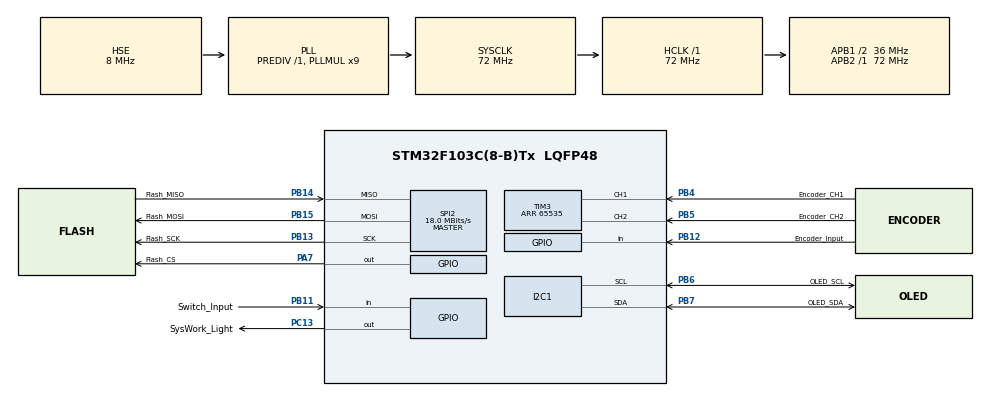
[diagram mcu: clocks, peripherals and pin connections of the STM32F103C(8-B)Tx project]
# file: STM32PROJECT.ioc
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Dma.I2C1_TX.0.Direction=DMA_MEMORY_TO_PERIPH
Dma.I2C1_TX.0.Instance=DMA1_Channel6
Dma.I2C1_TX.0.MemDataAlignment=DMA_MDATAALIGN_BYTE
Dma.I2C1_TX.0.MemInc=DMA_MINC_ENABLE
Dma.I2C1_TX.0.Mode=DMA_NORMAL
Dma.I2C1_TX.0.PeriphDataAlignment=DMA_PDATAALIGN_BYTE
Dma.I2C1_TX.0.PeriphInc=DMA_PINC_DISABLE
Dma.I2C1_TX.0.Priority=DMA_PRIORITY_HIGH
Dma.Request0=I2C1_TX
I2C1.DutyCycle=I2C_DUTYCYCLE_2
I2C1.I2C_Mode=I2C_Fast
Mcu.Family=STM32F1
Mcu.Name=STM32F103C(8-B)Tx
Mcu.Package=LQFP48
NVIC.DMA1_Channel6_IRQn=true\:0\:0\:false\:false\:true\:false\:true\:true
NVIC.PriorityGroup=NVIC_PRIORITYGROUP_4
PA13.Mode=Serial_Wire
PA13.Signal=SYS_JTMS-SWDIO
PA14.Mode=Serial_Wire
PA14.Signal=SYS_JTCK-SWCLK
PA7.GPIO_Label=Flash_CS
PA7.GPIO_ModeDefaultOutputPP=GPIO_MODE_OUTPUT_PP
PA7.GPIO_PuPd=GPIO_PULLUP
PA7.Signal=GPIO_Output
PB11.GPIO_Label=Switch_Input
PB11.GPIO_PuPd=GPIO_PULLUP
PB11.Signal=GPIO_Input
PB12.GPIO_Label=Encoder_Input
PB12.GPIO_PuPd=GPIO_PULLUP
PB12.Signal=GPIO_Input
PB13.GPIO_Label=Flash_SCK
PB13.Mode=Full_Duplex_Master
PB13.Signal=SPI2_SCK
PB14.GPIO_Label=Flash_MISO
PB14.Mode=Full_Duplex_Master
PB14.Signal=SPI2_MISO
PB15.GPIO_Label=Flash_MOSI
PB15.Mode=Full_Duplex_Master
PB15.Signal=SPI2_MOSI
PB4.GPIO_Label=Encoder_CH1
PB4.Signal=S_TIM3_CH1
PB5.GPIO_Label=Encoder_CH2
PB5.Signal=S_TIM3_CH2
PB6.GPIO_Label=OLED_SCL
PB6.Mode=I2C
PB6.Signal=I2C1_SCL
PB7.GPIO_Label=OLED_SDA
PB7.Mode=I2C
PB7.Signal=I2C1_SDA
PC13-TAMPER-RTC.GPIO_Label=SysWork_Light
PC13-TAMPER-RTC.PinState=GPIO_PIN_RESET
PC13-TAMPER-RTC.Signal=GPIO_Output
PD0-OSC_IN.Mode=HSE-External-Oscillator
PD0-OSC_IN.Signal=RCC_OSC_IN
PD1-OSC_OUT.Mode=HSE-External-Oscillator
PD1-OSC_OUT.Signal=RCC_OSC_OUT
ProjectManager.HeapSize=0x200
ProjectManager.StackSize=0x400
ProjectManager.TargetToolchain=STM32CubeIDE
RCC.AHBFreq_Value=72000000
RCC.APB1CLKDivider=RCC_HCLK_DIV2
RCC.APB1Freq_Value=36000000
RCC.APB1TimFreq_Value=72000000
RCC.APB2Freq_Value=72000000
RCC.APB2TimFreq_Value=72000000
RCC.HCLKFreq_Value=72000000
RCC.PLLMUL=RCC_PLL_MUL9
RCC.PLLSourceVirtual=RCC_PLLSOURCE_HSE
RCC.SYSCLKFreq_VALUE=72000000
RCC.SYSCLKSource=RCC_SYSCLKSOURCE_PLLCLK
RCC.USBFreq_Value=72000000
SH.S_TIM3_CH1.0=TIM3_CH1,Encoder_Interface
SH.S_TIM3_CH2.0=TIM3_CH2,Encoder_Interface
SPI2.CalculateBaudRate=18.0 MBits/s
SPI2.Direction=SPI_DIRECTION_2LINES
SPI2.Mode=SPI_MODE_MASTER
SPI2.VirtualType=VM_MASTER
TIM3.IC1Filter=0
TIM3.IC2Filter=0
TIM3.Period=65535
board=custom

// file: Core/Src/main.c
/* USER CODE BEGIN Header */
/**
  ******************************************************************************
  * @file           : main.c
  * @brief          : Main program body
  ******************************************************************************
  * @attention
  *
  * Copyright (c) 2025 STMicroelectronics.
  * All rights reserved.
  *
  * This software is licensed under terms that can be found in the LICENSE file
  * in the root directory of this software component.
  * If no LICENSE file comes with this software, it is provided AS-IS.
  *
  ******************************************************************************
  */
/* USER CODE END Header */
#include "main.h"
#include "i2c.h"
#include "spi.h"
#include "tim.h"
#include "gpio.h"

/* USER CODE BEGIN Includes */
#include "oled.h"
#include "oled_ui.h"
#include "oled_driver.h"
#include "oled_optimize.h"
#include "video_player.h"
#include "flash.h"
#include "games.h"
#include "drawer.h"
/* USER CODE END Includes */

void SystemClock_Config(void);

/* USER CODE BEGIN 0 */
uint16_t count = 0; // 旋钮数据
/* USER CODE END 0 */

int main(void)
{

  /* MCU Configuration--------------------------------------------------------*/

  /* Reset of all peripherals, Initializes the Flash interface and the Systick. */
  HAL_Init();

  /* Configure the system clock */
  SystemClock_Config();

  /* Initialize all configured peripherals */
  MX_GPIO_Init();
  MX_I2C1_Init();
  MX_TIM3_Init();
  MX_SPI2_Init();
  /* USER CODE BEGIN 2 */
  // W25Q64_Init(); // 初始化W25Q64
  OLED_Init(); // 初始化OLED
  OLED_InitBuffer(); // 初始化双缓冲
  OLED_ClearBuffer(); // 清空缓冲区

  OLED_EnableDiffMode(1);  // 启用差分更新
  OLED_EnableFastUpdate(1); // 启用快速更新
  OLED_InitCube3D(&CUBE, 13.5f, 150, 10); //中心(113,10)

  // HAL_TIMEx_PWMN_Start(&htim1, TIM_CHANNEL_3); // 启动PWM
  // HAL_TIM_PWM_Start(&htim1, TIM_CHANNEL_3); // 启动PWM
  // HAL_TIM_PWM_Start(&htim1, TIM_CHANNEL_2); // 启动PWM
  HAL_TIM_Encoder_Start(&htim3, TIM_CHANNEL_1); // 启动编码器
  HAL_TIM_Encoder_Start(&htim3, TIM_CHANNEL_2); // 启动编码器

  OLED_InitAnimationManager(&g_AnimationManager); // 初始化动画管理器
  OLED_InitAnimationManager(&Menu_AnimationManager); // 初始化菜单动画管理器
  OLED_InitAnimationManager(&Games_AnimationManager); // 初始化游戏动画管理器
  OLED_InitAnimationManager(&Tools_AnimationManager); // 初始化工具动画管理器
  OLED_InitAnimationManager(&Settings_AnimationManager); // 初始化设置动画管理器
  OLED_InitAnimationManager(&About_AnimationManager); // 初始化关于动画管理器
  OLED_InitAnimationManager(&Status_AnimationManager); // 初始化状态动画管理器
  OLED_InitAnimationManager(&g_Title_AnimationManager); // 初始化标题动画管理器
  __HAL_TIM_SET_COUNTER(&htim3, 32767);
  /* USER CODE END 2 */

  /* Infinite loop */
  /* USER CODE BEGIN WHILE */
  while (1)
  {
    #pragma region OLED_UI_SETTINGS // UI设置
    OLED_ClearBuffer();
    System_UI_Loop(); // UI循环
    if (isShowFPS)
      OLED_OptimizedDisplayFPS(80, 56); // 显示帧率
    count = __HAL_TIM_GET_COUNTER(&htim3); // 获取编码器计数值 1圈40
    OLED_UpdateAnimationManager(&Menu_AnimationManager); // 更新菜单动画管理器
    OLED_UpdateAnimationManager(&g_AnimationManager); // 更新动画管理器
    OLED_UpdateAnimationManager(&Games_AnimationManager); // 更新游戏动画管理器
    OLED_UpdateAnimationManager(&Tools_AnimationManager); // 更新工具动画管理器
    OLED_UpdateAnimationManager(&Settings_AnimationManager); // 更新设置动画管理器
    OLED_UpdateAnimationManager(&About_AnimationManager); // 更新关于动画管理器
    OLED_UpdateAnimationManager(&Status_AnimationManager); // 更新状态动画管理器
    OLED_UpdateAnimationManager(&g_Title_AnimationManager); // 更新标题动画管理器
    OLED_SmartUpdate(); // 智能更新显示
    #pragma endregion OLED_UI_SETTINGS

    //  // HAL_Delay(1000); // 延时1秒
    //  // HAL_GPIO_WritePin(GPIOC, GPIO_PIN_13, GPIO_PIN_SET); // 点亮LED
    //  // HAL_Delay(1000); // 延时1秒
    //  // HAL_GPIO_WritePin(GPIOC, GPIO_PIN_13, GPIO_PIN_RESET); // 熄灭LED
    /* USER CODE END WHILE */

  }
}

void SystemClock_Config(void)
{
  RCC_OscInitTypeDef RCC_OscInitStruct = {0};
  RCC_ClkInitTypeDef RCC_ClkInitStruct = {0};

  /** Initializes the RCC Oscillators according to the specified parameters
  * in the RCC_OscInitTypeDef structure.
  */
  RCC_OscInitStruct.OscillatorType = RCC_OSCILLATORTYPE_HSE;
  RCC_OscInitStruct.HSEState = RCC_HSE_ON;
  RCC_OscInitStruct.HSEPredivValue = RCC_HSE_PREDIV_DIV1;
  RCC_OscInitStruct.HSIState = RCC_HSI_ON;
  RCC_OscInitStruct.PLL.PLLState = RCC_PLL_ON;
  RCC_OscInitStruct.PLL.PLLSource = RCC_PLLSOURCE_HSE;
  RCC_OscInitStruct.PLL.PLLMUL = RCC_PLL_MUL9;
  if (HAL_RCC_OscConfig(&RCC_OscInitStruct) != HAL_OK)
  {
    Error_Handler();
  }

  /** Initializes the CPU, AHB and APB buses clocks
  */
  RCC_ClkInitStruct.ClockType = RCC_CLOCKTYPE_HCLK|RCC_CLOCKTYPE_SYSCLK
                              |RCC_CLOCKTYPE_PCLK1|RCC_CLOCKTYPE_PCLK2;
  RCC_ClkInitStruct.SYSCLKSource = RCC_SYSCLKSOURCE_PLLCLK;
  RCC_ClkInitStruct.AHBCLKDivider = RCC_SYSCLK_DIV1;
  RCC_ClkInitStruct.APB1CLKDivider = RCC_HCLK_DIV2;
  RCC_ClkInitStruct.APB2CLKDivider = RCC_HCLK_DIV1;

  if (HAL_RCC_ClockConfig(&RCC_ClkInitStruct, FLASH_LATENCY_2) != HAL_OK)
  {
    Error_Handler();
  }
}

void Error_Handler(void)
{
  __disable_irq();
  while (1)
  {
  }
}
